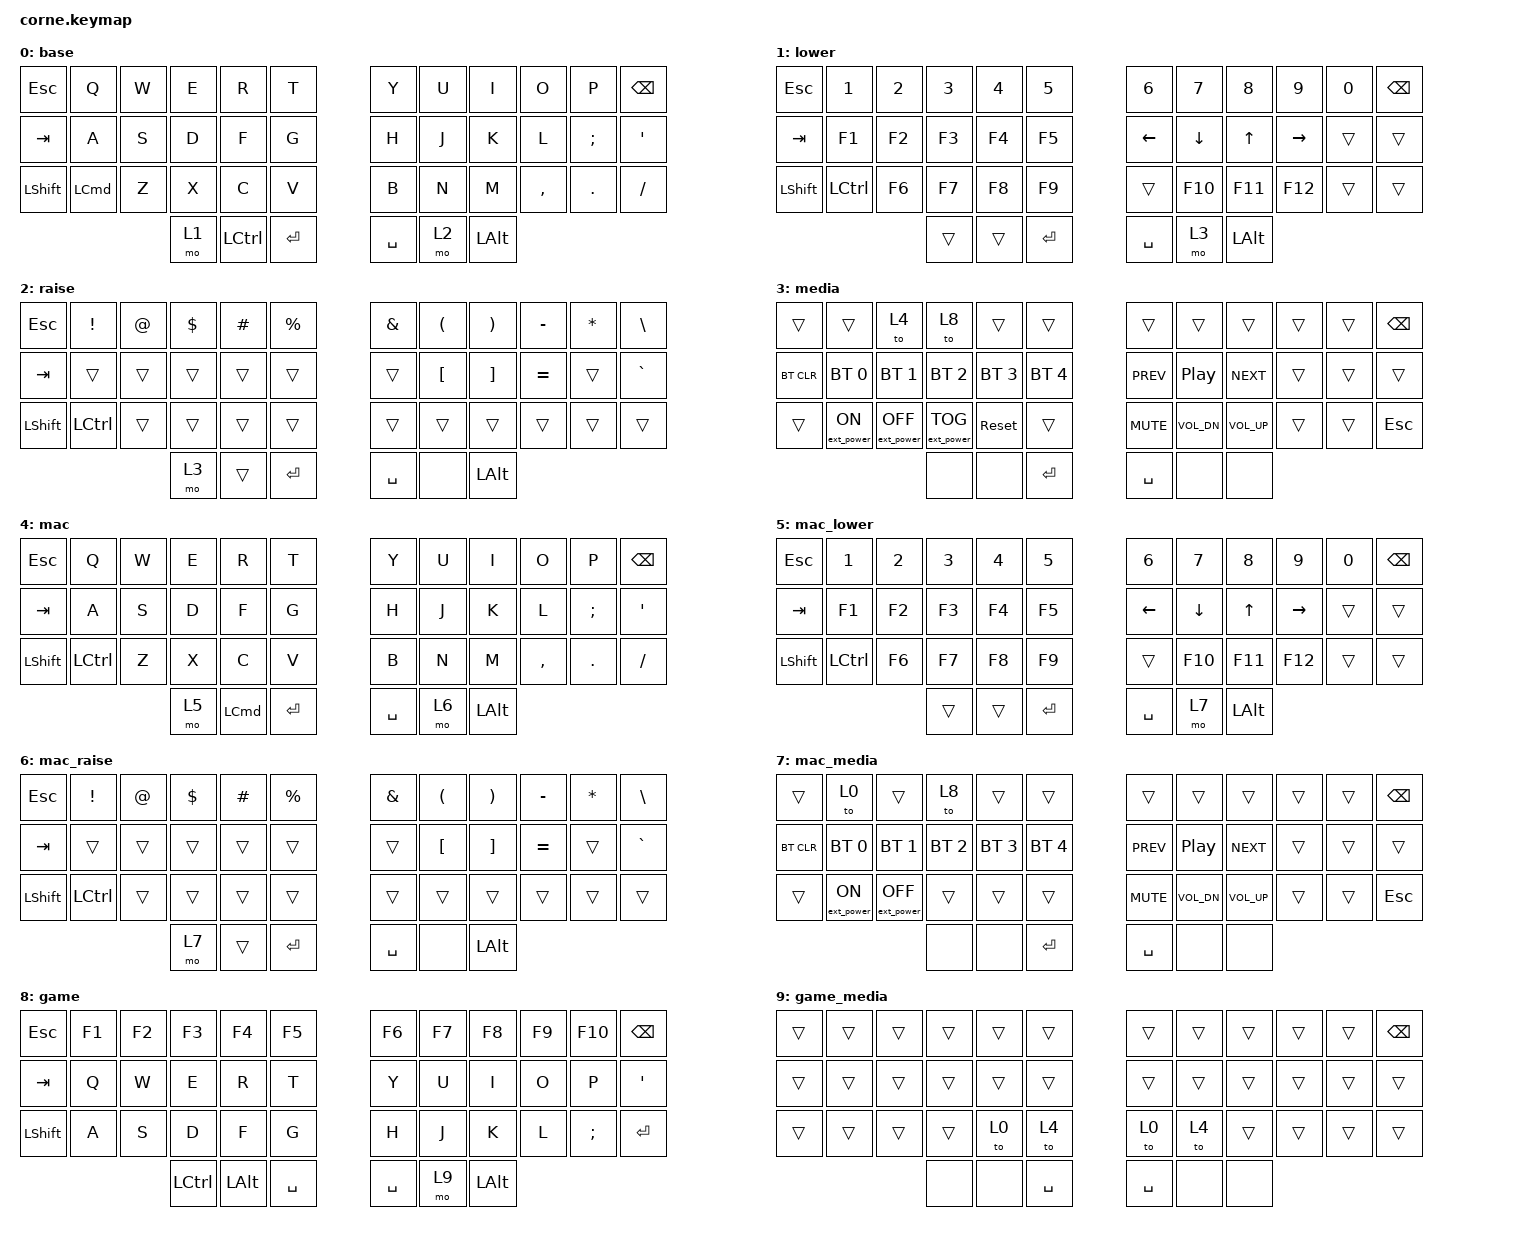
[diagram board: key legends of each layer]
/*
 * Copyright (c) 2020 The ZMK Contributors
 *
 * SPDX-License-Identifier: MIT
 * 
 * My take on 'real programmers Dvorak' layout with custom symbol layers.
 * References:
 *     Programmers dv: Programmer Dvorak layout (by Roland Kaufmann)
 *     Real programmers dv: https://github.com/ThePrimeagen
 *     My qmk config: https://github.com/timonviola/qmk_firmware/tree/master/keyboards/crkbd/keymaps/timon
 * 
 */

#include <behaviors.dtsi>
#include <dt-bindings/zmk/bt.h>
#include <dt-bindings/zmk/ext_power.h>
#include <dt-bindings/zmk/keys.h>

#define BASE 0
#define LOWER 1
#define RAISE 2
#define MEDIA 3

/ {
    keymap {
        compatible = "zmk,keymap";

        default_layer {
            label = "base";

            // +------------------------------------------------------------------------------------+
            // |  TAB  | ; : | , < | . > |  P  |  Y  |         |  F  |  G  |  C  |  R  |  L  | BSPC |
            // | LSHFT |  A  |  O  |  E  |  U  |  I  |         |  D  |  H  |  T  |  N  |  S  | DEL  |
            // |  CTLR | ' " | q @ |  J  |  K  |  X  |         |  B  |  M  |  W  |  V  |  Z  | ESC  |
            //                       | GUI | LOWER | SPC |  | ENT | RAISE | ALT |
            // +------------------------------------------------------------------------------------+

            bindings = <
&kp ESC    &kp Q             &kp W  &kp E  &kp R      &kp T      &kp Y      &kp U  &kp I         &kp O      &kp P     &kp BSPC
&kp TAB    &kp A             &kp S  &kp D  &kp F      &kp G      &kp H      &kp J  &kp K         &kp L      &kp SEMI  &kp SQT
&kp LSHFT  &kp LEFT_COMMAND  &kp Z  &kp X  &kp C      &kp V      &kp B      &kp N  &kp M         &kp COMMA  &kp DOT   &kp SLASH
                                    &mo 1  &kp LCTRL  &kp RET    &kp SPACE  &mo 2  &kp LEFT_ALT
            >;
        };

        lower_layer {
            label = "lower";

            // +------------------------------------------------------------------------------------+
            // |   TAB |  1  |  2  |  3  |  4  |  5  |         |  6  |  7  |  8  |  9  |  0  | BSPC |
            // | LSHFT | F1  | F2  | F3  | F4  | F5  |         | LEFT| DOWN|  UP | RHGT|     |      |
            // |  CTLR | F6  | F7  | F8  | F9  |     |         |     | F10 | F11 | F12 |     |      |
            //                         | GUI |     | SPC |  | ENT |MEDIA| ALT |
            // +------------------------------------------------------------------------------------+

            bindings = <
&kp ESC    &kp N1     &kp N2  &kp N3  &kp N4  &kp N5     &kp N6     &kp N7    &kp N8        &kp N9     &kp N0  &kp BSPC
&kp TAB    &kp F1     &kp F2  &kp F3  &kp F4  &kp F5     &kp LEFT   &kp DOWN  &kp UP        &kp RIGHT  &trans  &trans
&kp LSHFT  &kp LCTRL  &kp F6  &kp F7  &kp F8  &kp F9     &trans     &kp F10   &kp F11       &kp F12    &trans  &trans
                              &trans  &trans  &kp RET    &kp SPACE  &mo 3     &kp LEFT_ALT
            >;
        };

        raise_layer {
            label = "raise";

            // +------------------------------------------------------------------------------------+
            // |  TAB  |  !  |  @  |  #  |  $  |  %  |         |  ^  |  &  |  *  |  (  |  )  | BSPC |
            // | LSHFT |  ~  |  -  |  [  |  (  |  :  |         |  \  |  )  |  ]  |  +  |  =  | ` ~  |
            // |  CTLR |GLOBE|  _  |  ?  |  {  |  "  |         |  ;  |  }  |     |  |  |  /  |  ESC |
            //                        | GUI |MEDIA| SPC |   | ENT |     | ALT |
            // +------------------------------------------------------------------------------------+

            bindings = <
&kp ESC         &kp EXCL   &kp AT  &kp DOLLAR  &kp HASH  &kp PRCNT    &kp AMPERSAND  &kp LEFT_PARENTHESIS  &kp RIGHT_PARENTHESIS  &kp MINUS  &kp ASTERISK  &kp BSLH
&kp TAB         &trans     &trans  &trans      &trans    &trans       &trans         &kp LEFT_BRACKET      &kp RIGHT_BRACKET      &kp EQUAL  &trans        &kp GRAVE
&kp LEFT_SHIFT  &kp LCTRL  &trans  &trans      &trans    &trans       &trans         &trans                &trans                 &trans     &trans        &trans
                                   &mo 3       &trans    &kp RET      &kp SPACE      &none                 &kp LEFT_ALT
            >;
        };

        media_layer {
            label = "media";

            // +------------------------------------------------------------------------------------+
            // |   TAB |     |     |     |     |     |         |     |     |     |     |     | BSPC |
            // |BT CLR | BT1 | BT2 | BT3 | BT4 | BT5 |         | PREV|> || | NEXT|     |     |      |
            // |  CTLR |PW ON|PWOFF|     |     |     |         | MUTE| VOL-| VOL+|     |     |  ESC |
            //                        | GUI |     | SPC |  | ENT |     | ALT |
            // +------------------------------------------------------------------------------------+

            bindings = <
&trans      &trans            &to 4              &to 8              &trans        &trans          &trans      &trans        &trans        &trans  &trans  &kp BSPC
&bt BT_CLR  &bt BT_SEL 0      &bt BT_SEL 1       &bt BT_SEL 2       &bt BT_SEL 3  &bt BT_SEL 4    &kp C_PREV  &kp C_PP      &kp C_NEXT    &trans  &trans  &trans
&trans      &ext_power EP_ON  &ext_power EP_OFF  &ext_power EP_TOG  &sys_reset    &trans          &kp C_MUTE  &kp C_VOL_DN  &kp C_VOL_UP  &trans  &trans  &kp ESC
                                                 &none              &none         &kp RET         &kp SPACE   &none         &none
            >;
        };

        mac_layer {
            label = "mac";
            bindings = <
&kp ESC    &kp Q      &kp W  &kp E  &kp R             &kp T      &kp Y      &kp U  &kp I         &kp O      &kp P     &kp BSPC
&kp TAB    &kp A      &kp S  &kp D  &kp F             &kp G      &kp H      &kp J  &kp K         &kp L      &kp SEMI  &kp SQT
&kp LSHFT  &kp LCTRL  &kp Z  &kp X  &kp C             &kp V      &kp B      &kp N  &kp M         &kp COMMA  &kp DOT   &kp SLASH
                             &mo 5  &kp LEFT_COMMAND  &kp RET    &kp SPACE  &mo 6  &kp LEFT_ALT
            >;
        };

        mac_lower_layer {
            label = "mac_lower";
            bindings = <
&kp ESC    &kp N1     &kp N2  &kp N3  &kp N4  &kp N5     &kp N6     &kp N7    &kp N8        &kp N9     &kp N0  &kp BSPC
&kp TAB    &kp F1     &kp F2  &kp F3  &kp F4  &kp F5     &kp LEFT   &kp DOWN  &kp UP        &kp RIGHT  &trans  &trans
&kp LSHFT  &kp LCTRL  &kp F6  &kp F7  &kp F8  &kp F9     &trans     &kp F10   &kp F11       &kp F12    &trans  &trans
                              &trans  &trans  &kp RET    &kp SPACE  &mo 7     &kp LEFT_ALT
            >;
        };

        mac_raise_layer {
            label = "mac_raise";
            bindings = <
&kp ESC         &kp EXCL   &kp AT  &kp DOLLAR  &kp HASH  &kp PRCNT    &kp AMPERSAND  &kp LEFT_PARENTHESIS  &kp RIGHT_PARENTHESIS  &kp MINUS  &kp ASTERISK  &kp BSLH
&kp TAB         &trans     &trans  &trans      &trans    &trans       &trans         &kp LBKT              &kp RBKT               &kp EQUAL  &trans        &kp GRAVE
&kp LEFT_SHIFT  &kp LCTRL  &trans  &trans      &trans    &trans       &trans         &trans                &trans                 &trans     &trans        &trans
                                   &mo 7       &trans    &kp RET      &kp SPACE      &none                 &kp LEFT_ALT
            >;
        };

        mac_media_layer {
            label = "mac_media";
            bindings = <
&trans      &to 0             &trans             &to 8         &trans        &trans          &trans      &trans        &trans        &trans  &trans  &kp BSPC
&bt BT_CLR  &bt BT_SEL 0      &bt BT_SEL 1       &bt BT_SEL 2  &bt BT_SEL 3  &bt BT_SEL 4    &kp C_PREV  &kp C_PP      &kp C_NEXT    &trans  &trans  &trans
&trans      &ext_power EP_ON  &ext_power EP_OFF  &trans        &trans        &trans          &kp C_MUTE  &kp C_VOL_DN  &kp C_VOL_UP  &trans  &trans  &kp ESC
                                                 &none         &none         &kp RET         &kp SPACE   &none         &none
            >;
        };

        game_layer {
            label = "game";
            bindings = <
&kp ESC         &kp F1  &kp F2  &kp F3     &kp F4    &kp F5       &kp F6     &kp F7  &kp F8        &kp F9  &kp F10   &kp BSPC
&kp TAB         &kp Q   &kp W   &kp E      &kp R     &kp T        &kp Y      &kp U   &kp I         &kp O   &kp P     &kp SQT
&kp LEFT_SHIFT  &kp A   &kp S   &kp D      &kp F     &kp G        &kp H      &kp J   &kp K         &kp L   &kp SEMI  &kp RET
                                &kp LCTRL  &kp LALT  &kp SPACE    &kp SPACE  &mo 9   &kp LEFT_ALT
            >;
        };

        game_media_layer {
            label = "game_media";
            bindings = <
&trans  &trans  &trans  &trans  &trans  &trans       &trans     &trans  &trans  &trans  &trans  &kp BSPC
&trans  &trans  &trans  &trans  &trans  &trans       &trans     &trans  &trans  &trans  &trans  &trans
&trans  &trans  &trans  &trans  &to 0   &to 4        &to 0      &to 4   &trans  &trans  &trans  &trans
                        &none   &none   &kp SPACE    &kp SPACE  &none   &none
            >;
        };
    };
};
